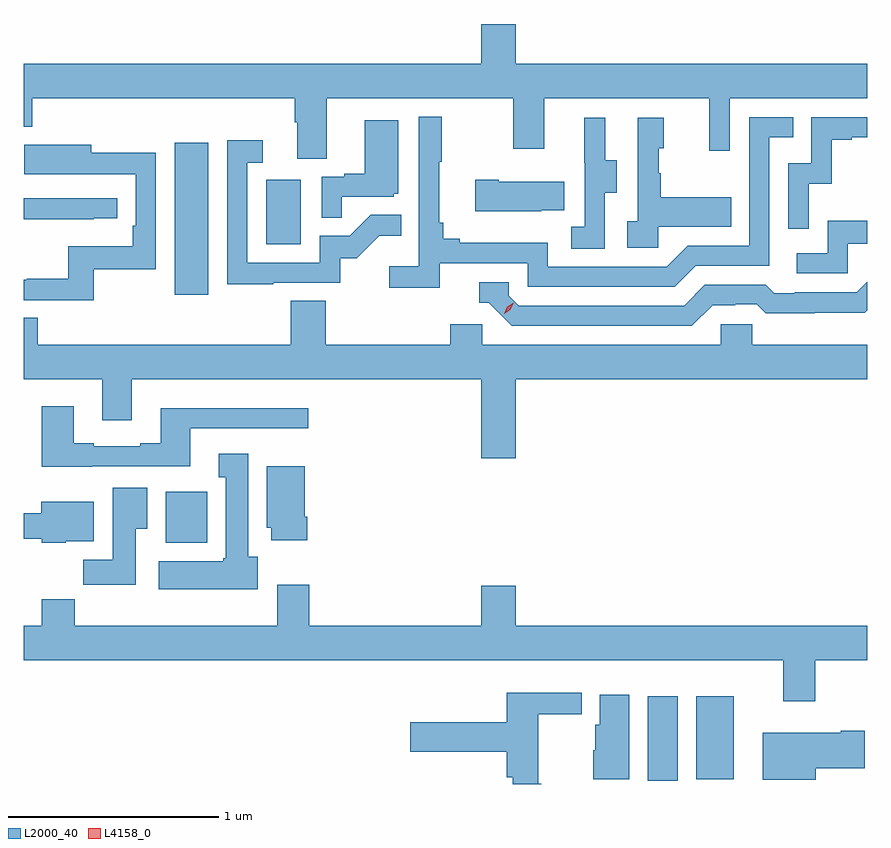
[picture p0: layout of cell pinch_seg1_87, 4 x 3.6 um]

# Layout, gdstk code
import gdstk
lib = gdstk.Library(unit=1e-6, precision=1e-09)
def R(c, l, rs):  # rectangles x0, y0, x1, y1
    for r in rs: c.add(gdstk.rectangle(r[:2], r[2:], *l))
def P(c, l, *ps):  # polygons
    for p in ps: c.add(gdstk.Polygon(p, *l))
L2000_40 = (2000, 40)
L4158_0 = (4158, 0)

pinch_seg1_87 = lib.new_cell('pinch_seg1_87')
R(pinch_seg1_87, L2000_40, [(1016.945,568.476,1017.088,568.876), (1017.176,568.484,1017.352,568.876), (1014.659,569.606,1014.856,569.848), (1014.701,570.78,1014.862,571.501), (1015.136,571.02,1015.3,571.327)])
P(pinch_seg1_87, L2000_40, [(1015.423,571.712),(1016.308,571.712),(1016.308,571.473),(1016.455,571.473),(1016.455,571.712),(1017.236,571.712),(1017.236,571.464),(1017.333,571.464),(1017.333,571.712),(1017.986,571.712),(1017.986,571.876),(1016.32,571.876),(1016.32,572.065),(1016.156,572.065),(1016.156,571.876),(1013.986,571.876),(1013.986,571.577),(1014.026,571.577),(1014.026,571.712),(1015.271,571.712),(1015.271,571.6),(1015.283,571.6),(1015.283,571.426),(1015.423,571.426)],
  [(1015.958,570.93),(1016.376,570.93),(1016.376,570.819),(1017.073,570.819),(1017.172,570.918),(1017.522,570.918),(1017.522,571.527),(1017.635,571.527),(1017.635,571.623),(1017.426,571.623),(1017.426,571.014),(1017.135,571.014),(1017.036,570.915),(1016.472,570.915),(1016.472,571.027),(1016.053,571.027),(1016.053,571.046),(1015.976,571.046),(1015.976,571.123),(1015.957,571.123),(1015.957,571.411),(1015.969,571.411),(1015.969,571.624),(1015.86,571.624),(1015.86,570.916),(1015.719,570.916),(1015.719,570.814),(1015.958,570.814)],
  [(1017.708,571.307),(1017.818,571.307),(1017.818,571.515),(1017.913,571.515),(1017.913,571.527),(1017.986,571.527),(1017.986,571.623),(1017.72,571.623),(1017.72,571.404),(1017.612,571.404),(1017.612,571.095),(1017.708,571.095)],
  [(1016.742,571.264),(1016.797,571.264),(1016.797,571.419),(1016.743,571.419),(1016.743,571.621),(1016.645,571.621),(1016.645,571.407),(1016.646,571.407),(1016.646,571.103),(1016.583,571.103),(1016.583,571),(1016.742,571)],
  [(1016.994,571.103),(1017.341,571.103),(1017.341,571.243),(1017.007,571.243),(1017.007,571.358),(1016.997,571.358),(1016.997,571.476),(1017.022,571.476),(1017.022,571.621),(1016.898,571.621),(1016.898,571.13),(1016.847,571.13),(1016.847,571.005),(1016.994,571.005)],
  [(1015.493,571.245),(1015.74,571.245),(1015.74,571.26),(1015.762,571.26),(1015.762,571.609),(1015.604,571.609),(1015.604,571.354),(1015.505,571.354),(1015.505,571.341),(1015.398,571.341),(1015.398,571.147),(1015.493,571.147)],
  [(1015.169,570.837),(1015.488,570.837),(1015.488,570.954),(1015.564,570.954),(1015.671,571.061),(1015.775,571.061),(1015.775,571.16),(1015.631,571.16),(1015.533,571.062),(1015.389,571.062),(1015.389,570.933),(1015.047,570.933),(1015.047,571.407),(1015.12,571.407),(1015.12,571.513),(1014.951,571.513),(1014.951,570.832),(1015.169,570.832)],
  [(1014.319,570.903),(1014.612,570.903),(1014.612,571.454),(1014.307,571.454),(1014.307,571.492),(1013.989,571.492),(1013.989,571.352),(1014.203,571.352),(1014.203,571.353),(1014.516,571.353),(1014.516,571.108),(1014.503,571.108),(1014.503,571.012),(1014.198,571.012),(1014.198,570.857),(1014.001,570.857),(1014.001,570.852),(1013.986,570.852),(1013.986,570.756),(1014.319,570.756)],
  [(1016.441,571.181),(1016.549,571.181),(1016.549,571.318),(1016.239,571.318),(1016.239,571.326),(1016.127,571.326),(1016.127,571.178),(1016.441,571.178)],
  [(1014.317,571.143),(1014.43,571.143),(1014.43,571.239),(1013.986,571.239),(1013.986,571.138),(1014.317,571.138)],
  [(1017.894,571.023),(1017.986,571.023),(1017.986,571.132),(1017.798,571.132),(1017.798,570.978),(1017.651,570.978),(1017.651,570.882),(1017.894,570.882)],
  [(1017.253,570.732),(1017.36,570.732),(1017.36,570.735),(1017.463,570.735),(1017.505,570.693),(1017.738,570.693),(1017.738,570.695),(1017.974,570.695),(1017.986,570.707),(1017.986,570.842),(1017.936,570.792),(1017.643,570.792),(1017.643,570.789),(1017.544,570.789),(1017.505,570.828),(1017.216,570.828),(1017.117,570.729),(1016.334,570.729),(1016.286,570.777),(1016.286,570.84),(1016.147,570.84),(1016.147,570.744),(1016.19,570.744),(1016.301,570.633),(1017.154,570.633)],
  [(1016.32,570.38),(1017.986,570.38),(1017.986,570.544),(1017.441,570.544),(1017.441,570.642),(1017.291,570.642),(1017.291,570.544),(1016.16,570.544),(1016.16,570.642),(1016.009,570.642),(1016.009,570.544),(1015.418,570.544),(1015.418,570.752),(1015.253,570.752),(1015.253,570.544),(1014.053,570.544),(1014.053,570.671),(1013.986,570.671),(1013.986,570.38),(1014.359,570.38),(1014.359,570.186),(1014.499,570.186),(1014.499,570.38),(1016.156,570.38),(1016.156,570.006),(1016.32,570.006)],
  [(1014.311,569.967),(1014.775,569.967),(1014.775,570.147),(1015.336,570.147),(1015.336,570.244),(1014.635,570.244),(1014.635,570.076),(1014.539,570.076),(1014.539,570.063),(1014.319,570.063),(1014.319,570.076),(1014.223,570.076),(1014.223,570.253),(1014.071,570.253),(1014.071,569.966),(1014.311,569.966)],
  [(1015.096,569.538),(1015.051,569.538),(1015.051,570.028),(1014.911,570.028),(1014.911,569.915),(1014.944,569.915),(1014.944,569.532),(1014.931,569.532),(1014.931,569.518),(1014.627,569.518),(1014.627,569.384),(1015.096,569.384)],
  [(1015.331,569.728),(1015.318,569.728),(1015.318,569.968),(1015.139,569.968),(1015.139,569.676),(1015.16,569.676),(1015.16,569.616),(1015.331,569.616)],
  [(1014.517,569.672),(1014.571,569.672),(1014.571,569.866),(1014.407,569.866),(1014.407,569.524),(1014.268,569.524),(1014.268,569.406),(1014.517,569.406)],
  [(1014.186,569.612),(1014.319,569.612),(1014.319,569.8),(1014.068,569.8),(1014.068,569.746),(1013.986,569.746),(1013.986,569.624),(1014.072,569.624),(1014.072,569.606),(1014.186,569.606)],
  [(1017.74,569.048),(1017.986,569.048),(1017.986,569.212),(1016.32,569.212),(1016.32,569.401),(1016.156,569.401),(1016.156,569.212),(1015.34,569.212),(1015.34,569.407),(1015.187,569.407),(1015.187,569.212),(1014.227,569.212),(1014.227,569.336),(1014.071,569.336),(1014.071,569.212),(1013.986,569.212),(1013.986,569.048),(1017.587,569.048),(1017.587,568.854),(1017.74,568.854)],
  [(1016.441,568.462),(1016.426,568.462),(1016.426,568.792),(1016.632,568.792),(1016.632,568.894),(1016.276,568.894),(1016.276,568.755),(1015.818,568.755),(1015.818,568.613),(1016.276,568.613),(1016.276,568.493),(1016.305,568.493),(1016.305,568.461),(1016.441,568.461)],
  [(1016.857,568.885),(1016.717,568.885),(1016.717,568.743),(1016.696,568.743),(1016.696,568.62),(1016.687,568.62),(1016.687,568.484),(1016.857,568.484)],
  [(1017.742,568.535),(1017.973,568.535),(1017.973,568.713),(1017.86,568.713),(1017.86,568.705),(1017.491,568.705),(1017.491,568.481),(1017.742,568.481)])
P(pinch_seg1_87, L4158_0, [(1016.264,570.69),(1016.264,570.69),(1016.279,570.723),(1016.31,570.742),(1016.31,570.742),(1016.31,570.742),(1016.294,570.71),(1016.264,570.69)])

lib.write_gds('pinch_seg1_87.gds')
